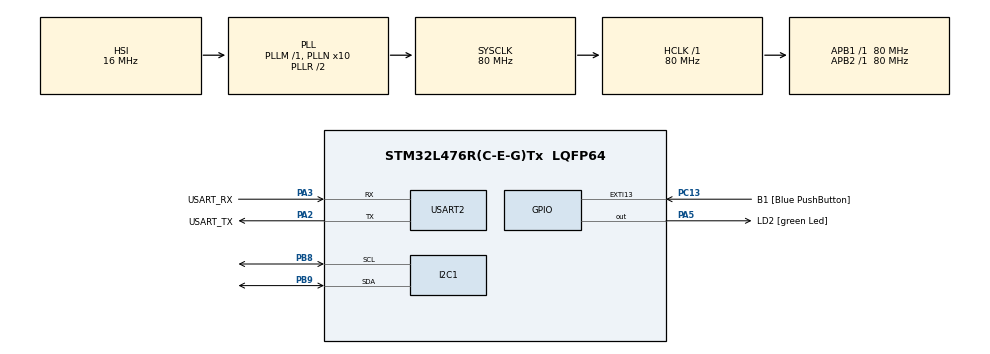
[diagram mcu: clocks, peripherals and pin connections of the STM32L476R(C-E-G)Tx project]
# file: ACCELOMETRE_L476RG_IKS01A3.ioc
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I2C1.Timing=0x10909CEC
Mcu.Family=STM32L4
Mcu.Name=STM32L476R(C-E-G)Tx
Mcu.Package=LQFP64
NVIC.PriorityGroup=NVIC_PRIORITYGROUP_4
PA13\ (JTMS-SWDIO).GPIO_Label=TMS
PA13\ (JTMS-SWDIO).Mode=Serial_Wire
PA13\ (JTMS-SWDIO).Signal=SYS_JTMS-SWDIO
PA14\ (JTCK-SWCLK).GPIO_Label=TCK
PA14\ (JTCK-SWCLK).Mode=Serial_Wire
PA14\ (JTCK-SWCLK).Signal=SYS_JTCK-SWCLK
PA2.GPIO_Label=USART_TX
PA2.GPIO_Mode=GPIO_MODE_AF_PP
PA2.GPIO_PuPd=GPIO_NOPULL
PA2.GPIO_Speed=GPIO_SPEED_FREQ_VERY_HIGH
PA2.Mode=Asynchronous
PA2.Signal=USART2_TX
PA3.GPIO_Label=USART_RX
PA3.GPIO_Mode=GPIO_MODE_AF_PP
PA3.GPIO_PuPd=GPIO_NOPULL
PA3.GPIO_Speed=GPIO_SPEED_FREQ_VERY_HIGH
PA3.Mode=Asynchronous
PA3.Signal=USART2_RX
PA5.GPIO_Label=LD2 [green Led]
PA5.GPIO_ModeDefaultOutputPP=GPIO_MODE_OUTPUT_PP
PA5.GPIO_PuPd=GPIO_NOPULL
PA5.GPIO_Speed=GPIO_SPEED_FREQ_LOW
PA5.Signal=GPIO_Output
PB3\ (JTDO-TRACESWO).GPIO_Label=SWO
PB3\ (JTDO-TRACESWO).Signal=SYS_JTDO-SWO
PB8.Mode=I2C
PB8.Signal=I2C1_SCL
PB9.Mode=I2C
PB9.Signal=I2C1_SDA
PC13.GPIO_Label=B1 [Blue PushButton]
PC13.GPIO_ModeDefaultEXTI=GPIO_MODE_IT_FALLING
PC13.GPIO_PuPd=GPIO_NOPULL
PC13.Signal=GPXTI13
PC14-OSC32_IN\ (PC14).Mode=LSE-External-Oscillator
PC14-OSC32_IN\ (PC14).Signal=RCC_OSC32_IN
PC15-OSC32_OUT\ (PC15).Mode=LSE-External-Oscillator
PC15-OSC32_OUT\ (PC15).Signal=RCC_OSC32_OUT
PH0-OSC_IN\ (PH0).Signal=RCC_OSC_IN
PH1-OSC_OUT\ (PH1).Signal=RCC_OSC_OUT
ProjectManager.HeapSize=0x200
ProjectManager.StackSize=0x400
ProjectManager.TargetToolchain=STM32CubeIDE
RCC.ADCFreq_Value=64000000
RCC.AHBFreq_Value=80000000
RCC.APB1Freq_Value=80000000
RCC.APB1TimFreq_Value=80000000
RCC.APB2Freq_Value=80000000
RCC.APB2TimFreq_Value=80000000
RCC.CortexFreq_Value=80000000
RCC.HCLKFreq_Value=80000000
RCC.HSE_VALUE=8000000
RCC.HSI_VALUE=16000000
RCC.MSI_VALUE=4000000
RCC.PLLN=10
RCC.PLLSourceVirtual=RCC_PLLSOURCE_HSI
RCC.PREFETCH_ENABLE=1
RCC.SYSCLKFreq_VALUE=80000000
RCC.SYSCLKSource=RCC_SYSCLKSOURCE_PLLCLK
RCC.USBFreq_Value=64000000
RCC.VCOOutputFreq_Value=160000000
USART2.VirtualMode-Asynchronous=VM_ASYNC
board=NUCLEO-L476RG

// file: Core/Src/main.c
/* USER CODE BEGIN Header */
/**
  ******************************************************************************
  * @file           : main.c
  * @brief          : Main program body
  ******************************************************************************
  * @attention
  *
  * Copyright (c) 2024 STMicroelectronics.
  * All rights reserved.
  *
  * This software is licensed under terms that can be found in the LICENSE file
  * in the root directory of this software component.
  * If no LICENSE file comes with this software, it is provided AS-IS.
  *
  ******************************************************************************
  */
/* USER CODE END Header */
#include "main.h"
#include "i2c.h"
#include "usart.h"
#include "gpio.h"

/* USER CODE BEGIN Includes */
#include <string.h>
#include <stdio.h>
#include "lis2dw12_reg.h"

/* USER CODE END Includes */

/* USER CODE BEGIN PV */
static int16_t data_raw_acceleration[3];
static float acceleration_mg[3];
static uint8_t whoamI, rst;
static uint8_t tx_buffer[1000];

/* USER CODE END PV */

void SystemClock_Config(void);
/* USER CODE BEGIN PFP */
static int32_t platform_write(void *handle, uint8_t reg, const uint8_t *bufp,
                              uint16_t len);
static int32_t platform_read(void *handle, uint8_t reg, uint8_t *bufp,
                             uint16_t len);
#ifdef __GNUC__
/* With GCC/RAISONANCE, small printf (option LD Linker->Libraries->Small printf
set to 'Yes') calls __io_putchar() */
#define PUTCHAR_PROTOTYPE int __io_putchar(int ch)
#else
#define PUTCHAR_PROTOTYPE int fputc(int ch, FILE *f)
#endif /* __GNUC__ */
/* USER CODE END PFP */

int main(void)
{
  /* USER CODE BEGIN 1 */
	stmdev_ctx_t dev_ctx;
    dev_ctx.write_reg = platform_write;
	dev_ctx.read_reg = platform_read;
	dev_ctx.mdelay = HAL_Delay;
    dev_ctx.handle = &hi2c1;
  /* USER CODE END 1 */

  /* MCU Configuration--------------------------------------------------------*/

  /* Reset of all peripherals, Initializes the Flash interface and the Systick. */
  HAL_Init();

  /* Configure the system clock */
  SystemClock_Config();

  /* Initialize all configured peripherals */
  MX_GPIO_Init();
  MX_USART2_UART_Init();
  MX_I2C1_Init();
  /* USER CODE BEGIN 2 */
  /* Check device ID */
     lis2dw12_device_id_get(&dev_ctx, &whoamI);

     if (whoamI != LIS2DW12_ID)
       while (1) {
         /* manage here device not found */
       }

     /* Restore default configuration */
     lis2dw12_reset_set(&dev_ctx, PROPERTY_ENABLE);

     do {
       lis2dw12_reset_get(&dev_ctx, &rst);
     } while (rst);

     /* Enable Block Data Update */
     lis2dw12_block_data_update_set(&dev_ctx, PROPERTY_ENABLE);
     /* Set full scale */
     //lis2dw12_full_scale_set(&dev_ctx, LIS2DW12_8g);
     lis2dw12_full_scale_set(&dev_ctx, LIS2DW12_2g);
     /* Configure filtering chain
      * Accelerometer - filter path / bandwidth
      */
     lis2dw12_filter_path_set(&dev_ctx, LIS2DW12_LPF_ON_OUT);
     lis2dw12_filter_bandwidth_set(&dev_ctx, LIS2DW12_ODR_DIV_4);
     /* Configure power mode */
     lis2dw12_power_mode_set(&dev_ctx, LIS2DW12_HIGH_PERFORMANCE);
     //lis2dw12_power_mode_set(&dev_ctx, LIS2DW12_CONT_LOW_PWR_LOW_NOISE_12bit);
     /* Set Output Data Rate */
     lis2dw12_data_rate_set(&dev_ctx, LIS2DW12_XL_ODR_25Hz);
  /* USER CODE END 2 */

  /* Infinite loop */
  while (1)
  {

    /* USER CODE BEGIN 3 */
	  uint8_t reg;
	  	  /* Read output only if new value is available */
	  	  lis2dw12_flag_data_ready_get(&dev_ctx, &reg);

	  	  if (reg) {
	  		/* Read acceleration data */
	  		memset(data_raw_acceleration, 0x00, 3 * sizeof(int16_t));
	  		lis2dw12_acceleration_raw_get(&dev_ctx, data_raw_acceleration);
	  		//acceleration_mg[0] = lis2dw12_from_fs8_lp1_to_mg(data_raw_acceleration[0]);
	  		//acceleration_mg[1] = lis2dw12_from_fs8_lp1_to_mg(data_raw_acceleration[1]);
	  		//acceleration_mg[2] = lis2dw12_from_fs8_lp1_to_mg(data_raw_acceleration[2]);
	  		acceleration_mg[0] = lis2dw12_from_fs2_to_mg(
	  							   data_raw_acceleration[0]);
	  		acceleration_mg[1] = lis2dw12_from_fs2_to_mg(
	  							   data_raw_acceleration[1]);
	  		acceleration_mg[2] = lis2dw12_from_fs2_to_mg(
	  							   data_raw_acceleration[2]);
	  		sprintf((char *)tx_buffer,
	  				"Acceleration [mg]:%4.2f\t%4.2f\t%4.2f\r\n",
	  				acceleration_mg[0], acceleration_mg[1], acceleration_mg[2]);
	  		//HAL_UART_Transmit(&huart2, tx_buffer, strlen((char const *)tx_buffer), 1000);
	  		printf((char *)tx_buffer);
	  	  }

  }
  /* USER CODE END 3 */
}

void SystemClock_Config(void)
{
  RCC_OscInitTypeDef RCC_OscInitStruct = {0};
  RCC_ClkInitTypeDef RCC_ClkInitStruct = {0};

  /** Configure the main internal regulator output voltage
  */
  if (HAL_PWREx_ControlVoltageScaling(PWR_REGULATOR_VOLTAGE_SCALE1) != HAL_OK)
  {
    Error_Handler();
  }

  /** Initializes the RCC Oscillators according to the specified parameters
  * in the RCC_OscInitTypeDef structure.
  */
  RCC_OscInitStruct.OscillatorType = RCC_OSCILLATORTYPE_HSI;
  RCC_OscInitStruct.HSIState = RCC_HSI_ON;
  RCC_OscInitStruct.HSICalibrationValue = RCC_HSICALIBRATION_DEFAULT;
  RCC_OscInitStruct.PLL.PLLState = RCC_PLL_ON;
  RCC_OscInitStruct.PLL.PLLSource = RCC_PLLSOURCE_HSI;
  RCC_OscInitStruct.PLL.PLLM = 1;
  RCC_OscInitStruct.PLL.PLLN = 10;
  RCC_OscInitStruct.PLL.PLLP = RCC_PLLP_DIV7;
  RCC_OscInitStruct.PLL.PLLQ = RCC_PLLQ_DIV2;
  RCC_OscInitStruct.PLL.PLLR = RCC_PLLR_DIV2;
  if (HAL_RCC_OscConfig(&RCC_OscInitStruct) != HAL_OK)
  {
    Error_Handler();
  }

  /** Initializes the CPU, AHB and APB buses clocks
  */
  RCC_ClkInitStruct.ClockType = RCC_CLOCKTYPE_HCLK|RCC_CLOCKTYPE_SYSCLK
                              |RCC_CLOCKTYPE_PCLK1|RCC_CLOCKTYPE_PCLK2;
  RCC_ClkInitStruct.SYSCLKSource = RCC_SYSCLKSOURCE_PLLCLK;
  RCC_ClkInitStruct.AHBCLKDivider = RCC_SYSCLK_DIV1;
  RCC_ClkInitStruct.APB1CLKDivider = RCC_HCLK_DIV1;
  RCC_ClkInitStruct.APB2CLKDivider = RCC_HCLK_DIV1;

  if (HAL_RCC_ClockConfig(&RCC_ClkInitStruct, FLASH_LATENCY_4) != HAL_OK)
  {
    Error_Handler();
  }
}

/* USER CODE BEGIN 4 */
PUTCHAR_PROTOTYPE
{
/* Place your implementation of fputc here */
/* e.g. write a character to the USART1 and Loop until the end of transmission */
	HAL_UART_Transmit(&huart2, (uint8_t *)&ch, 1, 100);
	return ch;
}

static int32_t platform_write(void *handle, uint8_t reg, const uint8_t *bufp,
                              uint16_t len)
{

  HAL_I2C_Mem_Write(handle, LIS2DW12_I2C_ADD_H, reg,
                    I2C_MEMADD_SIZE_8BIT, (uint8_t*) bufp, len, 1000);
  return 0;
}

static int32_t platform_read(void *handle, uint8_t reg, uint8_t *bufp,
                             uint16_t len)
{
  HAL_I2C_Mem_Read(handle, LIS2DW12_I2C_ADD_H, reg,
                   I2C_MEMADD_SIZE_8BIT, bufp, len, 1000);
  return 0;
}
/* USER CODE END 4 */

void Error_Handler(void)
{
  __disable_irq();
  while (1)
  {
  }
}
